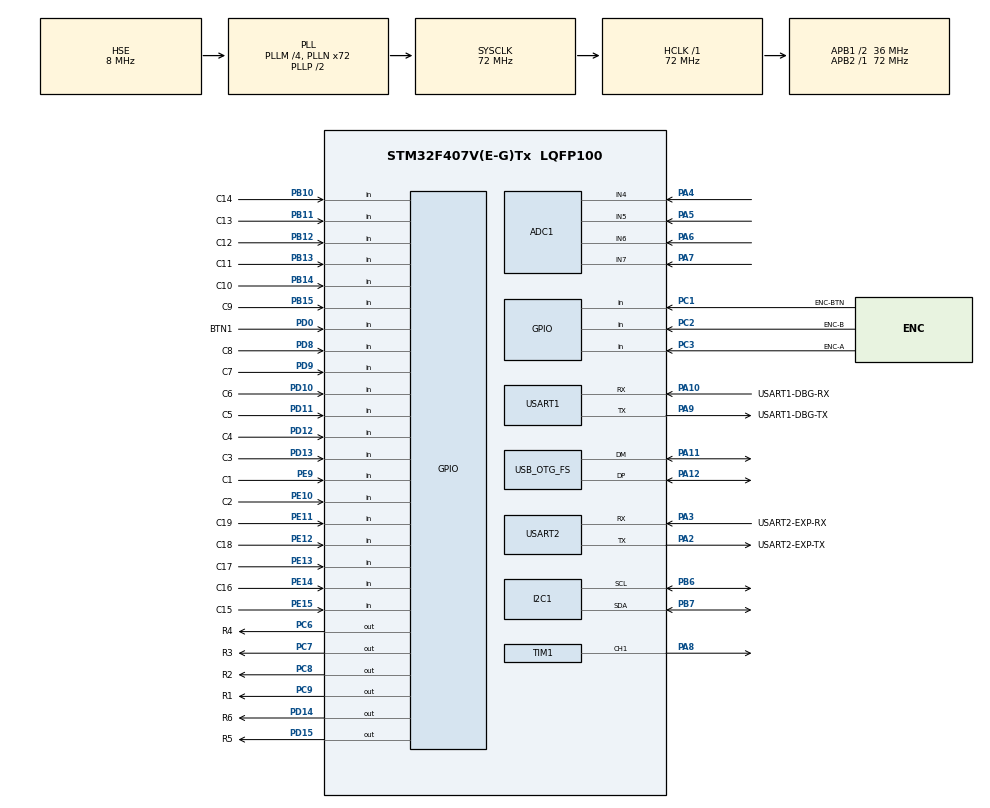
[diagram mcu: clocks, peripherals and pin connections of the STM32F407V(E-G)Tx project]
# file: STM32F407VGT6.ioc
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ADC1.Channel-0\#ChannelRegularConversion=ADC_CHANNEL_5
ADC1.NbrOfConversionFlag=1
ADC1.Rank-0\#ChannelRegularConversion=1
ADC1.SamplingTime-0\#ChannelRegularConversion=ADC_SAMPLETIME_3CYCLES
ADC1.master=1
Dma.Request0=TIM1_CH1
Dma.TIM1_CH1.0.Direction=DMA_MEMORY_TO_PERIPH
Dma.TIM1_CH1.0.FIFOMode=DMA_FIFOMODE_DISABLE
Dma.TIM1_CH1.0.Instance=DMA2_Stream1
Dma.TIM1_CH1.0.MemDataAlignment=DMA_MDATAALIGN_HALFWORD
Dma.TIM1_CH1.0.MemInc=DMA_MINC_ENABLE
Dma.TIM1_CH1.0.Mode=DMA_NORMAL
Dma.TIM1_CH1.0.PeriphDataAlignment=DMA_PDATAALIGN_HALFWORD
Dma.TIM1_CH1.0.PeriphInc=DMA_PINC_DISABLE
Dma.TIM1_CH1.0.Priority=DMA_PRIORITY_HIGH
Mcu.Family=STM32F4
Mcu.Name=STM32F407V(E-G)Tx
Mcu.Package=LQFP100
NVIC.DMA2_Stream1_IRQn=true\:0\:0\:false\:false\:true\:false\:true\:true
NVIC.OTG_FS_IRQn=true\:0\:0\:false\:false\:true\:false\:true\:true
NVIC.PriorityGroup=NVIC_PRIORITYGROUP_4
NVIC.TIM6_DAC_IRQn=true\:2\:0\:true\:false\:true\:true\:true\:true
PA10.GPIO_Label=USART1-DBG-RX
PA10.Mode=Asynchronous
PA10.Signal=USART1_RX
PA11.Mode=Device_Only
PA11.Signal=USB_OTG_FS_DM
PA12.Mode=Device_Only
PA12.Signal=USB_OTG_FS_DP
PA13.Mode=JTAG_5_pins
PA13.Signal=SYS_JTMS-SWDIO
PA14.Mode=JTAG_5_pins
PA14.Signal=SYS_JTCK-SWCLK
PA15.Mode=JTAG_5_pins
PA15.Signal=SYS_JTDI
PA2.GPIO_Label=USART2-EXP-TX
PA2.Mode=Asynchronous
PA2.Signal=USART2_TX
PA3.GPIO_Label=USART2-EXP-RX
PA3.Mode=Asynchronous
PA3.Signal=USART2_RX
PA4.Signal=ADCx_IN4
PA5.Signal=ADCx_IN5
PA6.Signal=ADCx_IN6
PA7.Signal=ADCx_IN7
PA8.GPIO_PuPd=GPIO_PULLDOWN
PA8.GPIO_Speed=GPIO_SPEED_FREQ_VERY_HIGH
PA8.Signal=S_TIM1_CH1
PA9.GPIO_Label=USART1-DBG-TX
PA9.Mode=Asynchronous
PA9.Signal=USART1_TX
PB10.GPIO_Label=C14
PB10.GPIO_PuPd=GPIO_PULLUP
PB10.Signal=GPIO_Input
PB11.GPIO_Label=C13
PB11.GPIO_PuPd=GPIO_PULLUP
PB11.Signal=GPIO_Input
PB12.GPIO_Label=C12
PB12.GPIO_PuPd=GPIO_PULLUP
PB12.Signal=GPIO_Input
PB13.GPIO_Label=C11
PB13.GPIO_PuPd=GPIO_PULLUP
PB13.Signal=GPIO_Input
PB14.GPIO_Label=C10
PB14.GPIO_PuPd=GPIO_PULLUP
PB14.Signal=GPIO_Input
PB15.GPIO_Label=C9
PB15.GPIO_PuPd=GPIO_PULLUP
PB15.Signal=GPIO_Input
PB3.Mode=JTAG_5_pins
PB3.Signal=SYS_JTDO-SWO
PB4.Mode=JTAG_5_pins
PB4.Signal=SYS_JTRST
PB6.Mode=I2C
PB6.Signal=I2C1_SCL
PB7.Mode=I2C
PB7.Signal=I2C1_SDA
PC1.GPIO_Label=ENC-BTN
PC1.GPIO_PuPd=GPIO_PULLDOWN
PC1.Signal=GPIO_Input
PC2.GPIO_Label=ENC-B
PC2.GPIO_PuPd=GPIO_PULLDOWN
PC2.Signal=GPIO_Input
PC3.GPIO_Label=ENC-A
PC3.GPIO_PuPd=GPIO_PULLDOWN
PC3.Signal=GPIO_Input
PC6.GPIO_Label=R4
PC6.PinState=GPIO_PIN_SET
PC6.Signal=GPIO_Output
PC7.GPIO_Label=R3
PC7.PinState=GPIO_PIN_SET
PC7.Signal=GPIO_Output
PC8.GPIO_Label=R2
PC8.PinState=GPIO_PIN_SET
PC8.Signal=GPIO_Output
PC9.GPIO_Label=R1
PC9.PinState=GPIO_PIN_SET
PC9.Signal=GPIO_Output
PD0.GPIO_Label=BTN1
PD0.Signal=GPIO_Input
PD10.GPIO_Label=C6
PD10.GPIO_PuPd=GPIO_PULLUP
PD10.Signal=GPIO_Input
PD11.GPIO_Label=C5
PD11.GPIO_PuPd=GPIO_PULLUP
PD11.Signal=GPIO_Input
PD12.GPIO_Label=C4
PD12.GPIO_PuPd=GPIO_PULLUP
PD12.Signal=GPIO_Input
PD13.GPIO_Label=C3
PD13.GPIO_PuPd=GPIO_PULLUP
PD13.Signal=GPIO_Input
PD14.GPIO_Label=R6
PD14.PinState=GPIO_PIN_SET
PD14.Signal=GPIO_Output
PD15.GPIO_Label=R5
PD15.PinState=GPIO_PIN_SET
PD15.Signal=GPIO_Output
PD8.GPIO_Label=C8
PD8.GPIO_PuPd=GPIO_PULLUP
PD8.Signal=GPIO_Input
PD9.GPIO_Label=C7
PD9.GPIO_PuPd=GPIO_PULLUP
PD9.Signal=GPIO_Input
PE10.GPIO_Label=C2
PE10.GPIO_PuPd=GPIO_PULLUP
PE10.Signal=GPIO_Input
PE11.GPIO_Label=C19
PE11.GPIO_PuPd=GPIO_PULLUP
PE11.Signal=GPIO_Input
PE12.GPIO_Label=C18
PE12.GPIO_PuPd=GPIO_PULLUP
PE12.Signal=GPIO_Input
PE13.GPIO_Label=C17
PE13.GPIO_PuPd=GPIO_PULLUP
PE13.Signal=GPIO_Input
PE14.GPIO_Label=C16
PE14.GPIO_PuPd=GPIO_PULLUP
PE14.Signal=GPIO_Input
PE15.GPIO_Label=C15
PE15.GPIO_PuPd=GPIO_PULLUP
PE15.Signal=GPIO_Input
PE9.GPIO_Label=C1
PE9.GPIO_PuPd=GPIO_PULLUP
PE9.Signal=GPIO_Input
PH0-OSC_IN.Mode=HSE-External-Oscillator
PH0-OSC_IN.Signal=RCC_OSC_IN
PH1-OSC_OUT.Mode=HSE-External-Oscillator
PH1-OSC_OUT.Signal=RCC_OSC_OUT
ProjectManager.HeapSize=0x200
ProjectManager.StackSize=0x400
ProjectManager.TargetToolchain=CMake
RCC.48MHZClocksFreq_Value=48000000
RCC.AHBFreq_Value=72000000
RCC.APB1CLKDivider=RCC_HCLK_DIV2
RCC.APB1Freq_Value=36000000
RCC.APB1TimFreq_Value=72000000
RCC.APB2Freq_Value=72000000
RCC.APB2TimFreq_Value=72000000
RCC.CortexFreq_Value=72000000
RCC.HCLKFreq_Value=72000000
RCC.HSE_VALUE=8000000
RCC.HSI_VALUE=16000000
RCC.LSE_VALUE=32768
RCC.PLLM=4
RCC.PLLN=72
RCC.PLLQ=3
RCC.SYSCLKFreq_VALUE=72000000
RCC.SYSCLKSource=RCC_SYSCLKSOURCE_PLLCLK
RCC.VCOOutputFreq_Value=144000000
SH.ADCx_IN4.0=ADC1_IN4,IN4
SH.ADCx_IN5.0=ADC1_IN5,IN5
SH.ADCx_IN6.0=ADC1_IN6,IN6
SH.ADCx_IN7.0=ADC1_IN7,IN7
SH.S_TIM1_CH1.0=TIM1_CH1,PWM Generation1 CH1
TIM1.Channel-PWM\ Generation1\ CH1=TIM_CHANNEL_1
TIM1.Period=89
TIM6.AutoReloadPreload=TIM_AUTORELOAD_PRELOAD_ENABLE
TIM6.Period=999
TIM6.Prescaler=71
USART1.VirtualMode=VM_ASYNC
USART2.VirtualMode=VM_ASYNC
USB_DEVICE.CLASS_NAME_FS=HID
USB_DEVICE.HID_FS_BINTERVAL=0x1
USB_DEVICE.MANUFACTURER_STRING-HID_FS=TheeKraft
USB_DEVICE.PRODUCT_STRING_HID_FS=Keybard9001
USB_DEVICE.USBD_SELF_POWERED-HID_FS=0
USB_DEVICE.VirtualMode-HID_FS=Hid
USB_DEVICE.VirtualModeFS=Hid_FS
USB_OTG_FS.VirtualMode=Device_Only
VP_TIM1_VS_ClockSourceINT.Mode=Internal
VP_TIM6_VS_ClockSourceINT.Mode=Enable_Timer
VP_USB_DEVICE_VS_USB_DEVICE_HID_FS.Mode=HID_FS
board=custom

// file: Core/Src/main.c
/* USER CODE BEGIN Header */
/**
  ******************************************************************************
  * @file           : main.c
  * @brief          : Main program body
  ******************************************************************************
  * @attention
  *
  * Copyright (c) 2026 STMicroelectronics.
  * All rights reserved.
  *
  * This software is licensed under terms that can be found in the LICENSE file
  * in the root directory of this software component.
  * If no LICENSE file comes with this software, it is provided AS-IS.
  *
  ******************************************************************************
  */
/* USER CODE END Header */
#include "main.h"
#include "usb_device.h"

/* USER CODE BEGIN Includes */
#include "button.h"
#include "dbg.h"
#include "hid_keyboard.h"
#include "led.h"
#include "matrix.h"
#include "vcp.h"
/* USER CODE END Includes */

/* USER CODE BEGIN PD */
_Static_assert(HID_KEYBOARD_REPORT_LEN == 8U, "matrix fills an 8-byte boot report");
/* USER CODE END PD */

ADC_HandleTypeDef hadc1;

I2C_HandleTypeDef hi2c1;

TIM_HandleTypeDef htim1;
TIM_HandleTypeDef htim6;
DMA_HandleTypeDef hdma_tim1_ch1;

UART_HandleTypeDef huart1;
UART_HandleTypeDef huart2;

/* USER CODE BEGIN PV */
static Button btn1 =
{
  .GPIO_PORT = BTN1_GPIO_Port,
  .GPIO_PIN = BTN1_Pin,
  .debounce_time_ms = 30U,
  .hold_time_ms = 1000U,
  .active_low = true,
};
/* USER CODE END PV */

void SystemClock_Config(void);
static void MX_GPIO_Init(void);
static void MX_DMA_Init(void);
static void MX_ADC1_Init(void);
static void MX_TIM6_Init(void);
static void MX_TIM1_Init(void);
static void MX_I2C1_Init(void);
static void MX_USART1_UART_Init(void);
static void MX_USART2_UART_Init(void);

int main(void)
{

  /* MCU Configuration--------------------------------------------------------*/

  /* Reset of all peripherals, Initializes the Flash interface and the Systick. */
  HAL_Init();

  /* Configure the system clock */
  SystemClock_Config();

  /* Initialize all configured peripherals */
  MX_GPIO_Init();
  MX_DMA_Init();
  MX_ADC1_Init();
  MX_TIM6_Init();
  MX_USB_DEVICE_Init();
  MX_TIM1_Init();
  MX_I2C1_Init();
  MX_USART1_UART_Init();
  MX_USART2_UART_Init();
  /* USER CODE BEGIN 2 */
  Button_Init(&btn1);
  Matrix_Init();
  Led_Init();
  if (HAL_TIM_Base_Start_IT(&htim6) != HAL_OK)
  {
    Error_Handler();
  }
  /* USER CODE END 2 */
  dbg_print_text("START PROGRAM");
  /* Infinite loop */
  while (1)
  {

    /* USER CODE BEGIN 3 */
    Button_Update(&btn1);
    if (btn1.pressed_flag)
    {
      btn1.pressed_flag = false;
      dbg_print_text("PRESSED yes");
    }
    if (btn1.released_flag)
    {
      btn1.released_flag = false;
      dbg_print_text("RELEASED");
    }
    if (btn1.held_flag)
    {
      btn1.held_flag = false;
      dbg_print_text("HELD");
    }
    Matrix_Poll();
    {
      uint8_t report[HID_KEYBOARD_REPORT_LEN];
      uint8_t consumer[HID_CONSUMER_REPORT_LEN];

      Matrix_FillReport(report);
      Matrix_FillConsumer(consumer);
      HidKeyboard_SendIfChanged(report);
      HidKeyboard_SendConsumerIfChanged(consumer);
      Vcp_Poll();
      Led_Poll();
    }
  }
  /* USER CODE END 3 */
}

void SystemClock_Config(void)
{
  RCC_OscInitTypeDef RCC_OscInitStruct = {0};
  RCC_ClkInitTypeDef RCC_ClkInitStruct = {0};

  /** Configure the main internal regulator output voltage
  */
  __HAL_RCC_PWR_CLK_ENABLE();
  __HAL_PWR_VOLTAGESCALING_CONFIG(PWR_REGULATOR_VOLTAGE_SCALE1);

  /** Initializes the RCC Oscillators according to the specified parameters
  * in the RCC_OscInitTypeDef structure.
  */
  RCC_OscInitStruct.OscillatorType = RCC_OSCILLATORTYPE_HSE;
  RCC_OscInitStruct.HSEState = RCC_HSE_ON;
  RCC_OscInitStruct.PLL.PLLState = RCC_PLL_ON;
  RCC_OscInitStruct.PLL.PLLSource = RCC_PLLSOURCE_HSE;
  RCC_OscInitStruct.PLL.PLLM = 4;
  RCC_OscInitStruct.PLL.PLLN = 72;
  RCC_OscInitStruct.PLL.PLLP = RCC_PLLP_DIV2;
  RCC_OscInitStruct.PLL.PLLQ = 3;
  if (HAL_RCC_OscConfig(&RCC_OscInitStruct) != HAL_OK)
  {
    Error_Handler();
  }

  /** Initializes the CPU, AHB and APB buses clocks
  */
  RCC_ClkInitStruct.ClockType = RCC_CLOCKTYPE_HCLK|RCC_CLOCKTYPE_SYSCLK
                              |RCC_CLOCKTYPE_PCLK1|RCC_CLOCKTYPE_PCLK2;
  RCC_ClkInitStruct.SYSCLKSource = RCC_SYSCLKSOURCE_PLLCLK;
  RCC_ClkInitStruct.AHBCLKDivider = RCC_SYSCLK_DIV1;
  RCC_ClkInitStruct.APB1CLKDivider = RCC_HCLK_DIV2;
  RCC_ClkInitStruct.APB2CLKDivider = RCC_HCLK_DIV1;

  if (HAL_RCC_ClockConfig(&RCC_ClkInitStruct, FLASH_LATENCY_2) != HAL_OK)
  {
    Error_Handler();
  }
}

static void MX_ADC1_Init(void)
{

  ADC_ChannelConfTypeDef sConfig = {0};

  /** Configure the global features of the ADC (Clock, Resolution, Data Alignment and number of conversion)
  */
  hadc1.Instance = ADC1;
  hadc1.Init.ClockPrescaler = ADC_CLOCK_SYNC_PCLK_DIV2;
  hadc1.Init.Resolution = ADC_RESOLUTION_12B;
  hadc1.Init.ScanConvMode = DISABLE;
  hadc1.Init.ContinuousConvMode = DISABLE;
  hadc1.Init.DiscontinuousConvMode = DISABLE;
  hadc1.Init.ExternalTrigConvEdge = ADC_EXTERNALTRIGCONVEDGE_NONE;
  hadc1.Init.ExternalTrigConv = ADC_SOFTWARE_START;
  hadc1.Init.DataAlign = ADC_DATAALIGN_RIGHT;
  hadc1.Init.NbrOfConversion = 1;
  hadc1.Init.DMAContinuousRequests = DISABLE;
  hadc1.Init.EOCSelection = ADC_EOC_SINGLE_CONV;
  if (HAL_ADC_Init(&hadc1) != HAL_OK)
  {
    Error_Handler();
  }

  /** Configure for the selected ADC regular channel its corresponding rank in the sequencer and its sample time.
  */
  sConfig.Channel = ADC_CHANNEL_5;
  sConfig.Rank = 1;
  sConfig.SamplingTime = ADC_SAMPLETIME_3CYCLES;
  if (HAL_ADC_ConfigChannel(&hadc1, &sConfig) != HAL_OK)
  {
    Error_Handler();
  }

}

static void MX_I2C1_Init(void)
{

  hi2c1.Instance = I2C1;
  hi2c1.Init.ClockSpeed = 100000;
  hi2c1.Init.DutyCycle = I2C_DUTYCYCLE_2;
  hi2c1.Init.OwnAddress1 = 0;
  hi2c1.Init.AddressingMode = I2C_ADDRESSINGMODE_7BIT;
  hi2c1.Init.DualAddressMode = I2C_DUALADDRESS_DISABLE;
  hi2c1.Init.OwnAddress2 = 0;
  hi2c1.Init.GeneralCallMode = I2C_GENERALCALL_DISABLE;
  hi2c1.Init.NoStretchMode = I2C_NOSTRETCH_DISABLE;
  if (HAL_I2C_Init(&hi2c1) != HAL_OK)
  {
    Error_Handler();
  }

}

static void MX_TIM1_Init(void)
{

  TIM_ClockConfigTypeDef sClockSourceConfig = {0};
  TIM_MasterConfigTypeDef sMasterConfig = {0};
  TIM_OC_InitTypeDef sConfigOC = {0};
  TIM_BreakDeadTimeConfigTypeDef sBreakDeadTimeConfig = {0};

  htim1.Instance = TIM1;
  htim1.Init.Prescaler = 0;
  htim1.Init.CounterMode = TIM_COUNTERMODE_UP;
  htim1.Init.Period = 89;
  htim1.Init.ClockDivision = TIM_CLOCKDIVISION_DIV1;
  htim1.Init.RepetitionCounter = 0;
  htim1.Init.AutoReloadPreload = TIM_AUTORELOAD_PRELOAD_DISABLE;
  if (HAL_TIM_Base_Init(&htim1) != HAL_OK)
  {
    Error_Handler();
  }
  sClockSourceConfig.ClockSource = TIM_CLOCKSOURCE_INTERNAL;
  if (HAL_TIM_ConfigClockSource(&htim1, &sClockSourceConfig) != HAL_OK)
  {
    Error_Handler();
  }
  if (HAL_TIM_PWM_Init(&htim1) != HAL_OK)
  {
    Error_Handler();
  }
  sMasterConfig.MasterOutputTrigger = TIM_TRGO_RESET;
  sMasterConfig.MasterSlaveMode = TIM_MASTERSLAVEMODE_DISABLE;
  if (HAL_TIMEx_MasterConfigSynchronization(&htim1, &sMasterConfig) != HAL_OK)
  {
    Error_Handler();
  }
  sConfigOC.OCMode = TIM_OCMODE_PWM1;
  sConfigOC.Pulse = 0;
  sConfigOC.OCPolarity = TIM_OCPOLARITY_HIGH;
  sConfigOC.OCNPolarity = TIM_OCNPOLARITY_HIGH;
  sConfigOC.OCFastMode = TIM_OCFAST_DISABLE;
  sConfigOC.OCIdleState = TIM_OCIDLESTATE_RESET;
  sConfigOC.OCNIdleState = TIM_OCNIDLESTATE_RESET;
  if (HAL_TIM_PWM_ConfigChannel(&htim1, &sConfigOC, TIM_CHANNEL_1) != HAL_OK)
  {
    Error_Handler();
  }
  sBreakDeadTimeConfig.OffStateRunMode = TIM_OSSR_DISABLE;
  sBreakDeadTimeConfig.OffStateIDLEMode = TIM_OSSI_DISABLE;
  sBreakDeadTimeConfig.LockLevel = TIM_LOCKLEVEL_OFF;
  sBreakDeadTimeConfig.DeadTime = 0;
  sBreakDeadTimeConfig.BreakState = TIM_BREAK_DISABLE;
  sBreakDeadTimeConfig.BreakPolarity = TIM_BREAKPOLARITY_HIGH;
  sBreakDeadTimeConfig.AutomaticOutput = TIM_AUTOMATICOUTPUT_DISABLE;
  if (HAL_TIMEx_ConfigBreakDeadTime(&htim1, &sBreakDeadTimeConfig) != HAL_OK)
  {
    Error_Handler();
  }
  HAL_TIM_MspPostInit(&htim1);

}

static void MX_TIM6_Init(void)
{

  TIM_MasterConfigTypeDef sMasterConfig = {0};

  htim6.Instance = TIM6;
  htim6.Init.Prescaler = 71;
  htim6.Init.CounterMode = TIM_COUNTERMODE_UP;
  htim6.Init.Period = 999;
  htim6.Init.AutoReloadPreload = TIM_AUTORELOAD_PRELOAD_ENABLE;
  if (HAL_TIM_Base_Init(&htim6) != HAL_OK)
  {
    Error_Handler();
  }
  sMasterConfig.MasterOutputTrigger = TIM_TRGO_RESET;
  sMasterConfig.MasterSlaveMode = TIM_MASTERSLAVEMODE_DISABLE;
  if (HAL_TIMEx_MasterConfigSynchronization(&htim6, &sMasterConfig) != HAL_OK)
  {
    Error_Handler();
  }

}

static void MX_USART1_UART_Init(void)
{

  huart1.Instance = USART1;
  huart1.Init.BaudRate = 115200;
  huart1.Init.WordLength = UART_WORDLENGTH_8B;
  huart1.Init.StopBits = UART_STOPBITS_1;
  huart1.Init.Parity = UART_PARITY_NONE;
  huart1.Init.Mode = UART_MODE_TX_RX;
  huart1.Init.HwFlowCtl = UART_HWCONTROL_NONE;
  huart1.Init.OverSampling = UART_OVERSAMPLING_16;
  if (HAL_UART_Init(&huart1) != HAL_OK)
  {
    Error_Handler();
  }

}

static void MX_USART2_UART_Init(void)
{

  huart2.Instance = USART2;
  huart2.Init.BaudRate = 115200;
  huart2.Init.WordLength = UART_WORDLENGTH_8B;
  huart2.Init.StopBits = UART_STOPBITS_1;
  huart2.Init.Parity = UART_PARITY_NONE;
  huart2.Init.Mode = UART_MODE_TX_RX;
  huart2.Init.HwFlowCtl = UART_HWCONTROL_NONE;
  huart2.Init.OverSampling = UART_OVERSAMPLING_16;
  if (HAL_UART_Init(&huart2) != HAL_OK)
  {
    Error_Handler();
  }

}

static void MX_DMA_Init(void)
{

  /* DMA controller clock enable */
  __HAL_RCC_DMA2_CLK_ENABLE();

  /* DMA interrupt init */
  /* DMA2_Stream1_IRQn interrupt configuration */
  HAL_NVIC_SetPriority(DMA2_Stream1_IRQn, 0, 0);
  HAL_NVIC_EnableIRQ(DMA2_Stream1_IRQn);

}

static void MX_GPIO_Init(void)
{
  GPIO_InitTypeDef GPIO_InitStruct = {0};

  /* GPIO Ports Clock Enable */
  __HAL_RCC_GPIOH_CLK_ENABLE();
  __HAL_RCC_GPIOC_CLK_ENABLE();
  __HAL_RCC_GPIOA_CLK_ENABLE();
  __HAL_RCC_GPIOE_CLK_ENABLE();
  __HAL_RCC_GPIOB_CLK_ENABLE();
  __HAL_RCC_GPIOD_CLK_ENABLE();

  /*Configure GPIO pin Output Level */
  HAL_GPIO_WritePin(GPIOD, R6_Pin|R5_Pin, GPIO_PIN_SET);

  /*Configure GPIO pin Output Level */
  HAL_GPIO_WritePin(GPIOC, R4_Pin|R3_Pin|R2_Pin|R1_Pin, GPIO_PIN_SET);

  /*Configure GPIO pins : ENC_BTN_Pin ENC_B_Pin ENC_A_Pin */
  GPIO_InitStruct.Pin = ENC_BTN_Pin|ENC_B_Pin|ENC_A_Pin;
  GPIO_InitStruct.Mode = GPIO_MODE_INPUT;
  GPIO_InitStruct.Pull = GPIO_PULLDOWN;
  HAL_GPIO_Init(GPIOC, &GPIO_InitStruct);

  /*Configure GPIO pins : C1_Pin C2_Pin C19_Pin C18_Pin
                           C17_Pin C16_Pin C15_Pin */
  GPIO_InitStruct.Pin = C1_Pin|C2_Pin|C19_Pin|C18_Pin
                          |C17_Pin|C16_Pin|C15_Pin;
  GPIO_InitStruct.Mode = GPIO_MODE_INPUT;
  GPIO_InitStruct.Pull = GPIO_PULLUP;
  HAL_GPIO_Init(GPIOE, &GPIO_InitStruct);

  /*Configure GPIO pins : C14_Pin C13_Pin C12_Pin C11_Pin
                           C10_Pin C9_Pin */
  GPIO_InitStruct.Pin = C14_Pin|C13_Pin|C12_Pin|C11_Pin
                          |C10_Pin|C9_Pin;
  GPIO_InitStruct.Mode = GPIO_MODE_INPUT;
  GPIO_InitStruct.Pull = GPIO_PULLUP;
  HAL_GPIO_Init(GPIOB, &GPIO_InitStruct);

  /*Configure GPIO pins : C8_Pin C7_Pin C6_Pin C5_Pin
                           C4_Pin C3_Pin */
  GPIO_InitStruct.Pin = C8_Pin|C7_Pin|C6_Pin|C5_Pin
                          |C4_Pin|C3_Pin;
  GPIO_InitStruct.Mode = GPIO_MODE_INPUT;
  GPIO_InitStruct.Pull = GPIO_PULLUP;
  HAL_GPIO_Init(GPIOD, &GPIO_InitStruct);

  /*Configure GPIO pins : R6_Pin R5_Pin */
  GPIO_InitStruct.Pin = R6_Pin|R5_Pin;
  GPIO_InitStruct.Mode = GPIO_MODE_OUTPUT_PP;
  GPIO_InitStruct.Pull = GPIO_NOPULL;
  GPIO_InitStruct.Speed = GPIO_SPEED_FREQ_LOW;
  HAL_GPIO_Init(GPIOD, &GPIO_InitStruct);

  /*Configure GPIO pins : R4_Pin R3_Pin R2_Pin R1_Pin */
  GPIO_InitStruct.Pin = R4_Pin|R3_Pin|R2_Pin|R1_Pin;
  GPIO_InitStruct.Mode = GPIO_MODE_OUTPUT_PP;
  GPIO_InitStruct.Pull = GPIO_NOPULL;
  GPIO_InitStruct.Speed = GPIO_SPEED_FREQ_LOW;
  HAL_GPIO_Init(GPIOC, &GPIO_InitStruct);

  /*Configure GPIO pin : BTN1_Pin */
  GPIO_InitStruct.Pin = BTN1_Pin;
  GPIO_InitStruct.Mode = GPIO_MODE_INPUT;
  GPIO_InitStruct.Pull = GPIO_NOPULL;
  HAL_GPIO_Init(BTN1_GPIO_Port, &GPIO_InitStruct);

}

/* USER CODE BEGIN 4 */
void HAL_TIM_PeriodElapsedCallback(TIM_HandleTypeDef *htim)
{
  if (htim->Instance == TIM6)
  {
    Matrix_OnTick();
  }
}
/* USER CODE END 4 */

void Error_Handler(void)
{
  __disable_irq();
  while (1)
  {
  }
}
